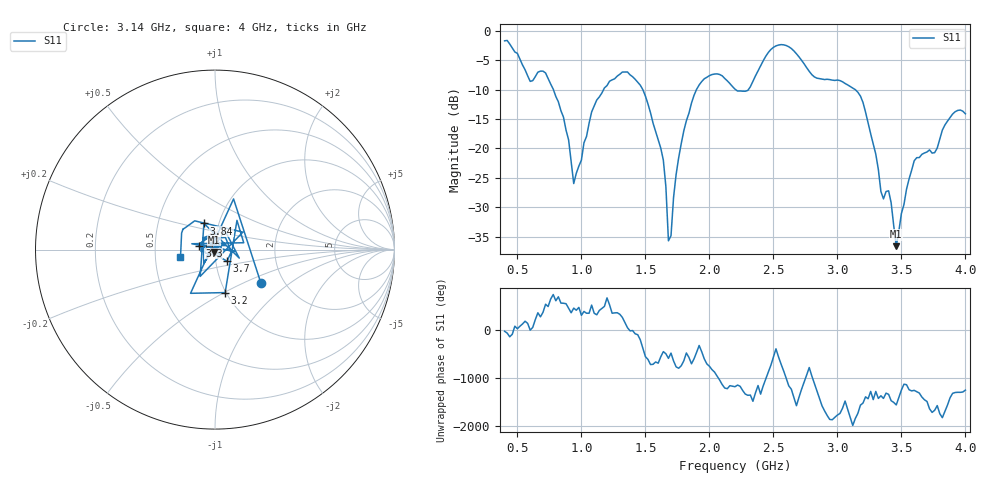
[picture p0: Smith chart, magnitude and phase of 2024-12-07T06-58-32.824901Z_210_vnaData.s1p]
!Created with skrf (http://scikit-rf.org).
# Hz S RI R 50.0
!freq ReS11 ImS11
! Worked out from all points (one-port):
!   181 points, 400 MHz to 4 GHz, reference 50 ohm
!   lowest |S11| = -36.6 dB at 3.46 GHz (marker M1), VSWR 1.03, Z = 49.4 - j1.32 ohm
!   |S11| at or under -10 dB: 781.4 MHz to 1.173 GHz (391.6 MHz wide, 40.1 % of centre); 1.48 GHz to 1.899 GHz (418.8 MHz wide, 24.8 % of centre); 3.14 GHz to end of sweep (the widest 3 of 4)
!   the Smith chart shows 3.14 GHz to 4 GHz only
!   S11 on the Smith chart (normalised r, x): 3.14 GHz: 1.53, -0.63; 3.2 GHz: 0.99, -0.51; 3.3 GHz: 0.84, +0.04; 3.7 GHz: 1.13, -0.15; 3.84 GHz: 0.85, +0.25; 4 GHz: 0.68, -0.06
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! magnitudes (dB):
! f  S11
! 400 MHz  -1.7
! 600 MHz  -8.6
! 720 MHz  -7.2
! 860 MHz  -14.7
! 940 MHz  -26.0
! 1.08 GHz  -13.8
! 1.3 GHz  -7.4
! 1.52 GHz  -12.4
! 1.64 GHz  -22.0
! 1.68 GHz  -35.7
! 1.7 GHz  -34.8
! 1.76 GHz  -21.6
! 1.94 GHz  -8.6
! 2.2 GHz  -9.9
! 2.3 GHz  -10.1
! 2.5 GHz  -2.8
! 2.66 GHz  -3.4
! 3.1 GHz  -9.5
! 3.14 GHz  -10.0
! 3.2 GHz  -12.2
! 3.3 GHz  -21.0
! 3.36 GHz  -28.6
! 3.4 GHz  -27.2
! 3.46 GHz  -36.6
! 3.56 GHz  -25.2
! 3.7 GHz  -20.6
! 3.84 GHz  -16.0
! 4 GHz  -14.1
